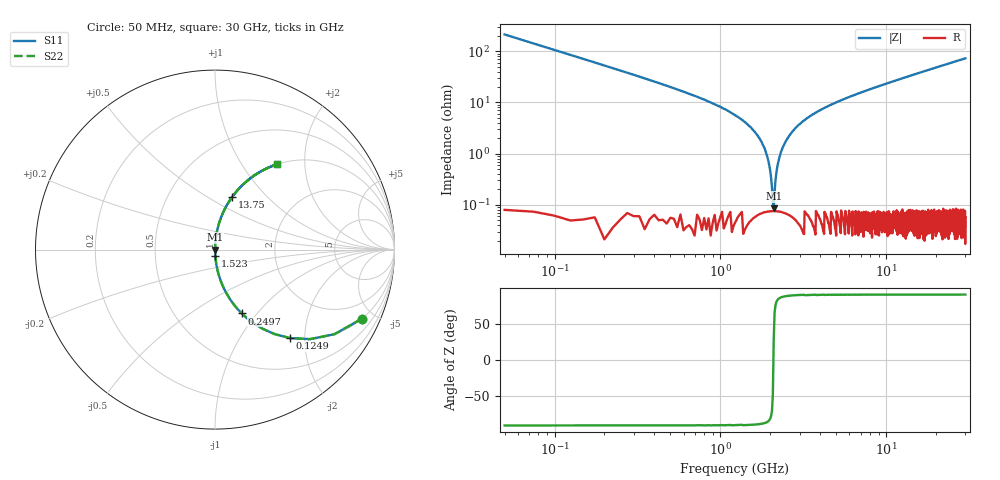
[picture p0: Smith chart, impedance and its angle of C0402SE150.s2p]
!	AVX Thin Film Operation 	Date: April 2014
!	Description: Accu-P® Series, Thin Film  SMD RF Capacitor
!	Part Number: 04023K150FBSTR
# MHZ S MA R 50
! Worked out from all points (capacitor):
!   1201 points, 50 MHz to 30 GHz, reference 50 ohm
!   read as one part in series: C = 15 pF near 199.8 MHz
!   lowest |Z| = 85.6 mohm at 2.097 GHz (marker M1)
!   series resonance near 2.088 GHz, so ESL is about 390 pH
!   S11 on the Smith chart (normalised r, x): 50 MHz: 1.01, -4.24; 124.9 MHz: 1.00, -1.69; 249.7 MHz: 1.00, -0.84; 1.523 GHz: 1.00, -0.07; 13.75 GHz: 1.00, +0.65; 30 GHz: 1.00, +1.45
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50  0.904 -25.2  0.426 64.7  0.426 64.7  0.904 -25.2
124.875  0.646 -49.7  0.763 40.2  0.763 40.2  0.646 -49.7
249.667  0.386 -67.2  0.922 22.7  0.922 22.7  0.386 -67.2
374.458  0.264 -74.6  0.964 15.3  0.964 15.3  0.264 -74.6
549.167  0.177 -79.6  0.984 10.2  0.984 10.2  0.177 -79.6
1522.542  0.033 -87.2  0.999 1.9  0.999 1.9  0.033 -87.2
1797.083  0.015 -87.2  0.999 0.9  0.999 0.9  0.015 -87.2
1871.958  0.011 -86.7  0.999 0.6  0.999 0.6  0.011 -86.7
1971.792  0.005856 -84.7  0.999 0.3  0.999 0.3  0.005856 -84.7
2096.583  0.0006494 38.2  0.999 -0.0  0.999 -0.0  0.0006494 38.2
2196.417  0.005154 84.0  0.999 -0.3  0.999 -0.3  0.005154 84.0
2296.25  0.009669 86.4  0.999 -0.6  0.999 -0.6  0.009669 86.4
2421.042  0.015 87.2  0.999 -0.9  0.999 -0.9  0.015 87.2
2845.333  0.032 87.3  0.999 -1.8  0.999 -1.8  0.032 87.3
3718.875  0.062 86.0  0.998 -3.5  0.998 -3.5  0.062 86.0
5041.667  0.101 83.9  0.994 -5.8  0.994 -5.8  0.101 83.9
10058.29  0.228 76.7  0.973 -13.2  0.973 -13.2  0.228 76.7
13752.12  0.311 71.8  0.95 -18.1  0.95 -18.1  0.311 71.8
15025  0.337 70.2  0.941 -19.7  0.941 -19.7  0.337 70.2
20016.67  0.434 64.2  0.901 -25.7  0.901 -25.7  0.434 64.2
25033.29  0.517 58.8  0.855 -31.2  0.855 -31.2  0.517 58.8
30000  0.587 54.0  0.809 -36.0  0.809 -36.0  0.587 54.0
